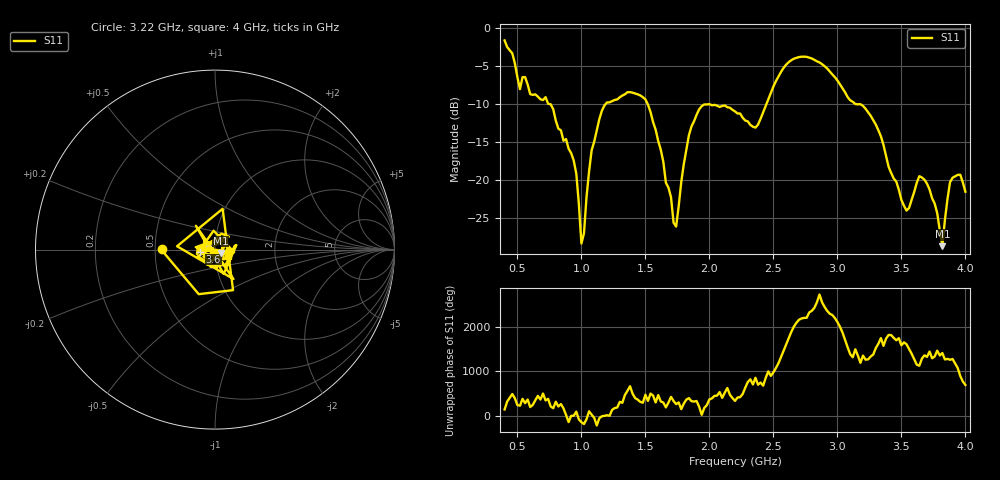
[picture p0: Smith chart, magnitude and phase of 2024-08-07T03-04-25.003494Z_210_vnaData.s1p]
!Created with skrf (http://scikit-rf.org).
# Hz S RI R 50.0
!freq ReS11 ImS11
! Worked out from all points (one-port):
!   181 points, 400 MHz to 4 GHz, reference 50 ohm
!   lowest |S11| = -28.7 dB at 3.82 GHz (marker M1), VSWR 1.08, Z = 53.2 - j2.07 ohm
!   |S11| at or under -10 dB: 744 MHz to 1.19 GHz (446.4 MHz wide, 46.2 % of centre); 1.517 GHz to 2.446 GHz (929 MHz wide, 46.9 % of centre); 3.139 GHz to end of sweep
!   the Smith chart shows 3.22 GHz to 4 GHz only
!   S11 on the Smith chart (normalised r, x): 3.22 GHz: 0.55, +0.00; 3.6 GHz: 0.85, -0.02; 4 GHz: 1.16, -0.09
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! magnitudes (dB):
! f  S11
! 400 MHz  -1.7
! 520 MHz  -8.1
! 720 MHz  -9.1
! 860 MHz  -14.8
! 960 MHz  -19.2
! 1 GHz  -28.4
! 1.08 GHz  -16.1
! 1.14 GHz  -12.0
! 1.3 GHz  -9.1
! 1.5 GHz  -9.4
! 1.62 GHz  -16.0
! 1.72 GHz  -25.6
! 1.76 GHz  -23.5
! 1.84 GHz  -14.1
! 1.92 GHz  -10.7
! 2.2 GHz  -11.0
! 2.36 GHz  -13.1
! 2.66 GHz  -4.1
! 2.88 GHz  -4.8
! 3.1 GHz  -9.5
! 3.22 GHz  -10.6
! 3.56 GHz  -23.7
! 3.6 GHz  -21.6
! 3.7 GHz  -20.5
! 3.82 GHz  -28.7
! 3.88 GHz  -20.3
! 3.96 GHz  -19.3
! 4 GHz  -21.5
